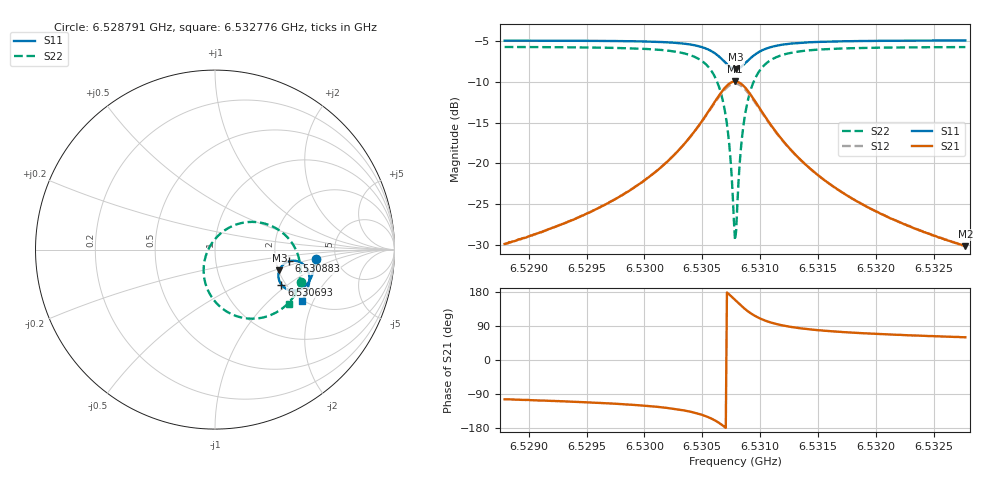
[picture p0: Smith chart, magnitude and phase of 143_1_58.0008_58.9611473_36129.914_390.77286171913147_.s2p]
#  HZ  S  RI  R  50.00
! Rohde & Schwarz Vector Network Analyzer
! Rohde-Schwarz,ZNB20-2Port,1311601062101988,3.16
! Created: UTC 3/21/2024, 12:56:42 AM
! freq[Hz]  re:S11  im:S11  re:S21  im:S21  re:S12  im:S12  re:S22  im:S22
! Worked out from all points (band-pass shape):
!   401 points, 6.528791 GHz to 6.532776 GHz, reference 50 ohm
!   highest |S21| = -9.97 dB at 6.530783 GHz (marker M1); lowest = -30.1 dB at 6.532776 GHz (marker M2)
!   |S21| within 3 dB of the highest: 6.530584 GHz to 6.530983 GHz (398.8 kHz wide, 0.00611 % of centre)
!   lowest |S11| = -8.5 dB at 6.530793 GHz (marker M3), VSWR 2.21, Z = 101 - j27 ohm
!   |S11| at or under -10 dB: nowhere
!   |S22| runs from -29.4 to -5.8 dB; largest |S21 - S12| = 0.013
!   S11 on the Smith chart (normalised r, x): 6.528791 GHz: 3.49, -0.54; 6.530693 GHz: 1.90, -0.90; 6.530883 GHz: 2.36, -0.37; 6.532776 GHz: 1.96, -1.66
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6.5287906e9  0.5606 -0.0526  -0.0076 -0.0313  -0.00822 -0.0312  0.4816 -0.1832
6.5294581e9  0.5512 -0.1089  -0.0172 -0.0446  -0.0183 -0.0443  0.4493 -0.2459
6.5298068e9  0.5413 -0.142  -0.0285 -0.0571  -0.0301 -0.0565  0.4182 -0.2872
6.5301256e9  0.5241 -0.1774  -0.0519 -0.0765  -0.0541 -0.0751  0.3646 -0.3353
6.5303548e9  0.4971 -0.2079  -0.0927 -0.0969  -0.0958 -0.0936  0.2812 -0.3748
6.5305241e9  0.4525 -0.2279  -0.1633 -0.1038  -0.1658 -0.0969  0.1512 -0.3793
6.5306238e9  0.4062 -0.2229  -0.2351 -0.0769  -0.2343 -0.0667  0.0308 -0.3199
6.5306935e9  0.3698 -0.195  -0.2885 -0.0168  -0.2822 -0.0061  -0.047 -0.2081
6.5307333e9  0.356 -0.1662  -0.305 0.0378  -0.2955 0.0465  -0.0634 -0.1144
6.5307732e9  0.3542 -0.1316  -0.3004 0.1004  -0.2888 0.1053  -0.0433 -0.0129
6.5307832e9  0.3562 -0.1229  -0.2954 0.1157  -0.2836 0.1196  -0.032 0.0113
6.5307931e9  0.3589 -0.1145  -0.2888 0.1306  -0.2769 0.1333  -0.0185 0.034
6.5308031e9  0.3627 -0.1064  -0.2807 0.1445  -0.2692 0.1463  -0.00254 0.0554
6.530823e9  0.3724 -0.0917  -0.2613 0.1693  -0.2504 0.1693  0.034 0.0924
6.5308429e9  0.3845 -0.08  -0.2381 0.1895  -0.2283 0.1878  0.0757 0.1207
6.5308828e9  0.4121 -0.0655  -0.1879 0.2138  -0.1806 0.2102  0.163 0.1511
6.5309525e9  0.4566 -0.0641  -0.11 0.2161  -0.1063 0.2129  0.2939 0.1396
6.5310522e9  0.496 -0.086  -0.0429 0.1847  -0.041 0.1827  0.4023 0.0698
6.5312016e9  0.5194 -0.1221  -0.00212 0.1366  -0.000782 0.1359  0.4618 -0.0284
6.5314507e9  0.5258 -0.1659  0.0154 0.0894  0.0166 0.089  0.4766 -0.1282
6.5321181e9  0.5098 -0.2371  0.0179 0.0429  0.0187 0.0427  0.4481 -0.2458
6.5327757e9  0.486 -0.2879  0.0156 0.027  0.0161 0.0268  0.4139 -0.3058
